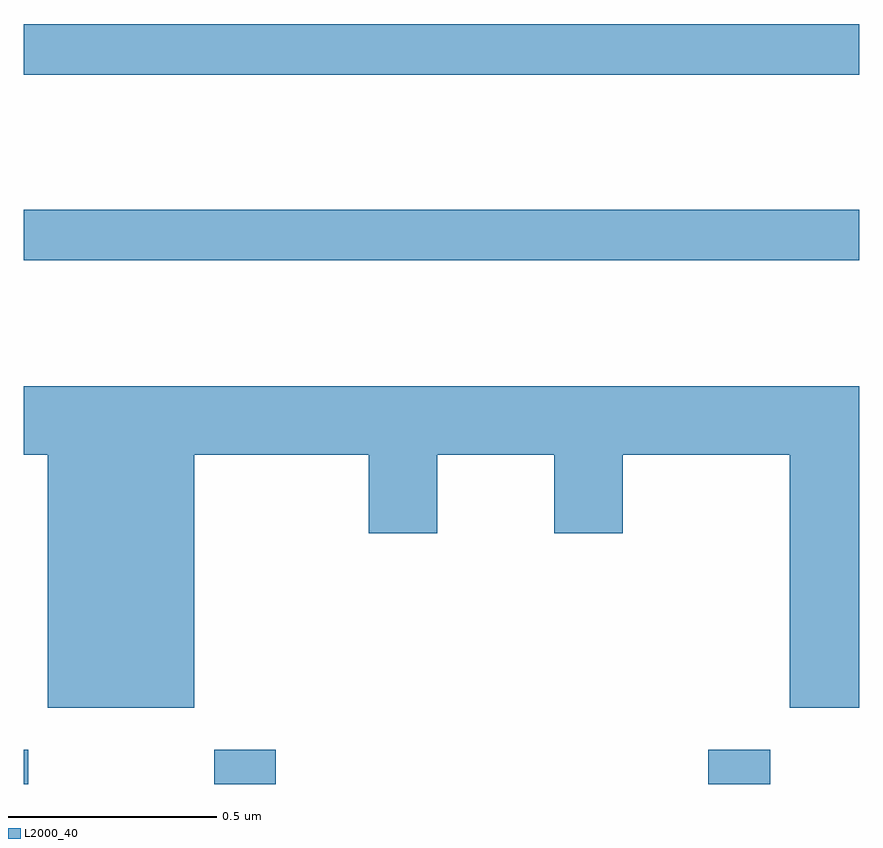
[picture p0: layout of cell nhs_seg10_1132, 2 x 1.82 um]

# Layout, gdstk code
import gdstk
lib = gdstk.Library(unit=1e-6, precision=1e-09)
def R(c, l, rs):  # rectangles x0, y0, x1, y1
    for r in rs: c.add(gdstk.rectangle(r[:2], r[2:], *l))
def P(c, l, *ps):  # polygons
    for p in ps: c.add(gdstk.Polygon(p, *l))
L2000_40 = (2000, 40)

nhs_seg10_1132 = lib.new_cell('nhs_seg10_1132')
R(nhs_seg10_1132, L2000_40, [(124,1327.5,124.011,1327.582), (124.456,1327.5,124.603,1327.582), (125.639,1327.5,125.787,1327.582), (124,1328.754,126,1328.875), (124,1329.198,126,1329.319)])
P(nhs_seg10_1132, L2000_40, [(124.408,1328.288),(124.826,1328.288),(124.826,1328.1),(124.99,1328.1),(124.99,1328.288),(125.27,1328.288),(125.27,1328.1),(125.434,1328.1),(125.434,1328.288),(125.834,1328.288),(125.834,1327.682),(126,1327.682),(126,1328.452),(124,1328.452),(124,1328.288),(124.058,1328.288),(124.058,1327.682),(124.408,1327.682)])

lib.write_gds('nhs_seg10_1132.gds')
